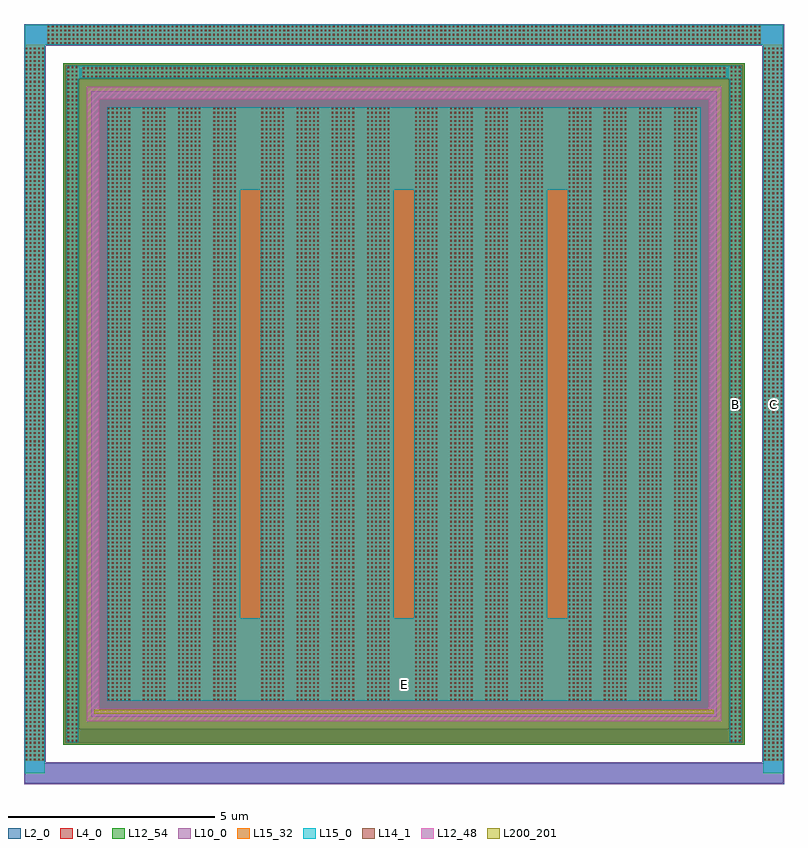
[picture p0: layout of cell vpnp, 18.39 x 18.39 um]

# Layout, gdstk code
import gdstk
lib = gdstk.Library(unit=1e-6, precision=1e-09)
def R(c, l, rs):  # rectangles x0, y0, x1, y1
    for r in rs: c.add(gdstk.rectangle(r[:2], r[2:], *l))
def A(c, l, x, y, w, h, nx, ny, dx, dy):  # array of equal rectangles
    R(c, l, [(x+i*dx, y+j*dy, x+i*dx+w, y+j*dy+h) for i in range(nx) for j in range(ny)])
L2_0 = (2, 0)
L4_0 = (4, 0)
L10_0 = (10, 0)
L12_48 = (12, 48)
L12_54 = (12, 54)
L14_1 = (14, 1)
L15_0 = (15, 0)
L15_32 = (15, 32)
L200_201 = (200, 201)

vpnp = lib.new_cell('vpnp')
R(vpnp, L2_0, [(-15.679,-7.709,2.673,-7.229), (-15.679,-7.229,-15.199,10.163), (2.193,-7.229,2.673,10.163), (-14.699,-6.729,1.693,-6.389), (-14.699,-6.389,-14.359,9.323), (1.353,-6.389,1.693,9.323), (-14.003,-6.033,0.997,8.967), (-14.699,9.323,1.693,9.663), (-15.679,10.163,2.673,10.643)])
R(vpnp, L4_0, [(-14.755,-6.785,1.749,9.719)])
R(vpnp, L10_0, [(-15.7,-7.73,2.694,-7.208), (-15.7,-7.208,-15.178,10.142), (2.172,-7.208,2.694,10.142), (-14.073,-6.103,1.067,9.037), (-15.7,10.142,2.694,10.664)])
R(vpnp, L12_48, [(-14.184,-6.214,1.178,-5.908), (-14.184,-5.908,-13.878,8.842), (0.872,-5.908,1.178,8.842), (-14.184,8.842,1.178,9.148)])
R(vpnp, L12_54, [(-14.755,-6.785,1.749,9.719)])
A(vpnp, L14_1, -15.659, -7.153, 0.04, 0.04, 5, 173, 0.1, 0.1)
A(vpnp, L14_1, 2.213, -7.153, 0.04, 0.04, 5, 173, 0.1, 0.1)
A(vpnp, L14_1, -14.649, -6.703, 0.04, 0.04, 3, 164, 0.1, 0.1)
A(vpnp, L14_1, 1.403, -6.703, 0.04, 0.04, 3, 164, 0.1, 0.1)
A(vpnp, L14_1, -13.673, -5.703, 0.04, 0.04, 6, 144, 0.1, 0.1)
A(vpnp, L14_1, -12.821, -5.703, 0.04, 0.04, 6, 144, 0.1, 0.1)
A(vpnp, L14_1, -11.969, -5.703, 0.04, 0.04, 6, 144, 0.1, 0.1)
A(vpnp, L14_1, -11.117, -5.703, 0.04, 0.04, 6, 144, 0.1, 0.1)
A(vpnp, L14_1, -9.954, -5.703, 0.04, 0.04, 6, 144, 0.1, 0.1)
A(vpnp, L14_1, -9.102, -5.703, 0.04, 0.04, 6, 144, 0.1, 0.1)
A(vpnp, L14_1, -8.25, -5.703, 0.04, 0.04, 6, 144, 0.1, 0.1)
A(vpnp, L14_1, -7.398, -5.703, 0.04, 0.04, 6, 144, 0.1, 0.1)
A(vpnp, L14_1, -6.235, -5.703, 0.04, 0.04, 6, 144, 0.1, 0.1)
A(vpnp, L14_1, -5.383, -5.703, 0.04, 0.04, 6, 144, 0.1, 0.1)
A(vpnp, L14_1, -4.531, -5.703, 0.04, 0.04, 6, 144, 0.1, 0.1)
A(vpnp, L14_1, -3.679, -5.703, 0.04, 0.04, 6, 144, 0.1, 0.1)
A(vpnp, L14_1, -2.516, -5.703, 0.04, 0.04, 6, 144, 0.1, 0.1)
A(vpnp, L14_1, -1.664, -5.703, 0.04, 0.04, 6, 144, 0.1, 0.1)
A(vpnp, L14_1, -0.812, -5.703, 0.04, 0.04, 6, 144, 0.1, 0.1)
A(vpnp, L14_1, 0.04, -5.703, 0.04, 0.04, 6, 144, 0.1, 0.1)
A(vpnp, L14_1, -14.273, 9.373, 0.04, 0.04, 156, 3, 0.1, 0.1)
A(vpnp, L14_1, -15.123, 10.183, 0.04, 0.04, 173, 5, 0.1, 0.1)
A(vpnp, L15_0, -13.691, -3.721, 3.219, 10.376, 4, 1, 3.719, 0)
R(vpnp, L15_0, [(-15.677,-7.469,-15.201,10.641), (2.195,-7.469,2.671,10.641), (-14.667,-6.721,-14.391,9.655), (1.385,-6.721,1.661,9.655), (-13.691,-5.721,0.685,-3.721), (-13.691,6.655,0.685,8.655), (-14.391,9.355,1.385,9.655), (-15.201,10.165,2.195,10.641)])
R(vpnp, L15_32, [(-15.677,-7.171,-15.201,10.165), (2.195,-7.171,2.671,10.165), (-14.667,-6.721,-14.391,9.655), (1.385,-6.721,1.661,9.655), (-13.691,-5.721,0.685,8.655), (-14.291,9.355,1.285,9.631), (-15.141,10.165,2.135,10.641)])
R(vpnp, L200_201, [(-14.003,-6.033,0.997,-5.933)])
vpnp.add(gdstk.Label('E', (-6.503,-5.333), layer=15, texttype=20))
vpnp.add(gdstk.Label('B', (1.523,1.467), layer=15, texttype=20))
vpnp.add(gdstk.Label('C', (2.433,1.467), layer=15, texttype=20))

lib.write_gds('vpnp.gds')
